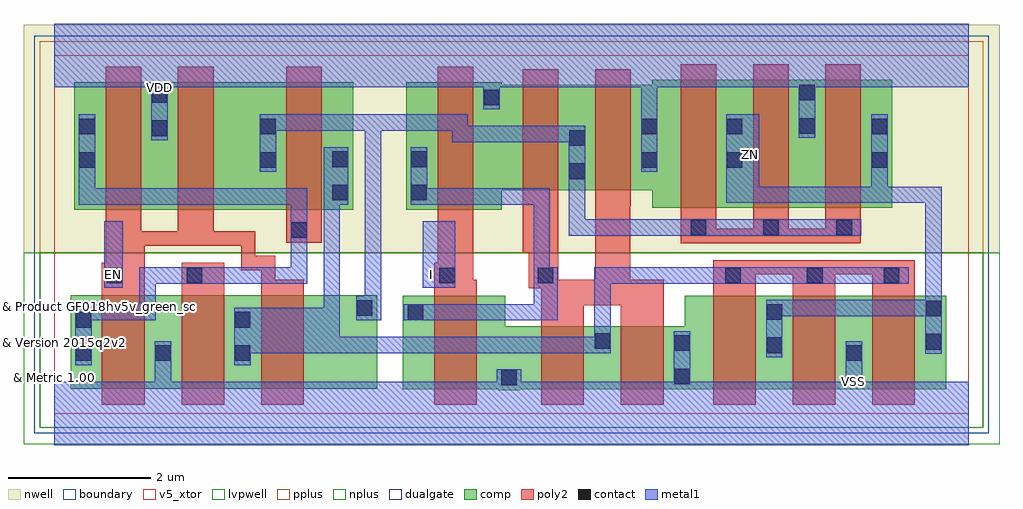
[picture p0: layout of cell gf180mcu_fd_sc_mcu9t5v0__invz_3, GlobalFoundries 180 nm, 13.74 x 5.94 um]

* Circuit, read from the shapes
.subckt gf180mcu_fd_sc_mcu9t5v0__invz_3 EN I VDD VSS ZN
XM1 VSS EN n1 VSUBS nfet_05v0 w=1.32u l=0.6u
XM2 n2 n1 VSS VSUBS nfet_05v0 w=1.32u l=0.6u
XM3 n3 EN n2 VSUBS nfet_05v0 w=1.32u l=0.6u
XM4 VSS I n4 VSUBS nfet_05v0 w=1.32u l=0.6u
XM5 n2 n4 VSS VSUBS nfet_05v0 w=0.885u l=0.6u m=2
XM6 ZN n2 VSS VSUBS nfet_05v0 w=1.32u l=0.6u m=3
XM7 VDD EN n1 n5 pfet_05v0 w=1.8u l=0.5u
XM8 n3 EN VDD n5 pfet_05v0 w=1.8u l=0.5u
XM9 n2 n1 n3 n5 pfet_05v0 w=1.8u l=0.5u
XM10 VDD I n4 n5 pfet_05v0 w=1.8u l=0.5u
XM11 n3 n4 VDD n5 pfet_05v0 w=1.485u l=0.5u m=2
XM12 ZN n3 VDD n5 pfet_05v0 w=1.8u l=0.5u m=3
.ends

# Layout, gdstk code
import gdstk
lib = gdstk.Library(unit=1e-6, precision=1e-09)
def R(c, l, rs):  # rectangles x0, y0, x1, y1
    for r in rs: c.add(gdstk.rectangle(r[:2], r[2:], *l))
def A(c, l, x, y, w, h, nx, ny, dx, dy):  # array of equal rectangles
    R(c, l, [(x+i*dx, y+j*dy, x+i*dx+w, y+j*dy+h) for i in range(nx) for j in range(ny)])
def P(c, l, *ps):  # polygons
    for p in ps: c.add(gdstk.Polygon(p, *l))
boundary = (0, 0)
nwell = (21, 0)
comp = (22, 0)
poly2 = (30, 0)
pplus = (31, 0)
nplus = (32, 0)
contact = (33, 0)
metal1 = (34, 0)
dualgate = (55, 0)
v5_xtor = (112, 1)
lvpwell = (204, 0)

gf180mcu_fd_sc_mcu9t5v0_ = lib.new_cell('gf180mcu_fd_sc_mcu9t5v0__invz_3')
R(gf180mcu_fd_sc_mcu9t5v0_, boundary, [(0,0,12.88,5.04)])
R(gf180mcu_fd_sc_mcu9t5v0_, nwell, [(-0.43,2.265,13.31,5.47)])
R(gf180mcu_fd_sc_mcu9t5v0_, comp, [(0.235,0.345,4.55,1.665), (0.285,2.865,4.21,4.665)])
P(gf180mcu_fd_sc_mcu9t5v0_, comp, [(4.96,2.865),(4.96,4.665),(6.3,4.665),(6.3,4.625),(8.42,4.625),(8.42,4.7),(11.8,4.7),(11.8,2.9),(8.42,2.9),(8.42,3.14),(6.3,3.14),(6.3,2.865)],
  [(6.25,0.325),(6.25,0.34),(4.91,0.34),(4.91,1.66),(6.35,1.66),(6.35,1.225),(8.88,1.225),(8.88,1.66),(12.56,1.66),(12.56,0.34),(6.56,0.34),(6.56,0.325)])
R(gf180mcu_fd_sc_mcu9t5v0_, poly2, [(1.795,0.125,2.395,2.125), (3.27,2.405,3.77,4.885)])
P(gf180mcu_fd_sc_mcu9t5v0_, poly2, [(0.675,0.125),(0.675,2.125),(0.725,2.125),(0.725,4.885),(1.225,4.885),(1.225,2.565),(1.745,2.565),(1.745,4.885),(2.245,4.885),(2.245,2.565),(2.835,2.565),(2.835,2.22),(3.115,2.22),(3.115,1.885),(3.515,1.885),(3.515,0.125),(2.915,0.125),(2.915,2.02),(2.635,2.02),(2.635,2.365),(1.275,2.365),(1.275,0.125)],
  [(5.35,0.12),(5.35,2.125),(5.4,2.125),(5.4,4.885),(5.9,4.885),(5.9,1.88),(5.95,1.88),(5.95,0.12)],
  [(6.86,0.12),(6.86,1.765),(6.68,1.765),(6.68,2.26),(6.6,2.26),(6.6,4.845),(7.1,4.845),(7.1,1.885),(7.62,1.885),(7.62,4.845),(8.12,4.845),(8.12,2.92),(8.115,2.92),(8.115,1.885),(8.58,1.885),(8.58,0.12),(7.98,0.12),(7.98,1.525),(7.46,1.525),(7.46,0.12)],
  [(8.82,2.4),(8.82,4.92),(9.32,4.92),(9.32,2.6),(9.84,2.6),(9.84,4.92),(10.34,4.92),(10.34,2.6),(10.86,2.6),(10.86,4.92),(11.36,4.92),(11.36,2.4)],
  [(9.28,0.12),(9.28,2.16),(12.12,2.16),(12.12,0.12),(11.52,0.12),(11.52,1.96),(11,1.96),(11,0.12),(10.4,0.12),(10.4,1.96),(9.88,1.96),(9.88,0.12)])
R(gf180mcu_fd_sc_mcu9t5v0_, pplus, [(-0.2,2.265,13.08,5.24)])
R(gf180mcu_fd_sc_mcu9t5v0_, nplus, [(-0.2,-0.2,13.08,2.265)])
A(gf180mcu_fd_sc_mcu9t5v0_, contact, 0.305, 0.74, 0.22, 0.22, 3, 1, 1.12, 0)
R(gf180mcu_fd_sc_mcu9t5v0_, contact, [(6.295,0.395,6.515,0.615), (8.73,0.41,8.95,0.63), (11.15,0.74,11.37,0.96), (10.03,0.85,10.25,1.07), (8.73,0.88,8.95,1.1), (12.27,0.9,12.49,1.12), (7.61,0.91,7.83,1.13), (0.305,1.21,0.525,1.43), (2.545,1.21,2.765,1.43), (4.98,1.315,5.2,1.535), (10.03,1.32,10.25,1.54), (12.27,1.37,12.49,1.59), (4.26,1.375,4.48,1.595), (0.745,1.835,0.965,2.055), (1.865,1.835,2.085,2.055), (5.42,1.835,5.64,2.055), (6.81,1.835,7.03,2.055), (9.45,1.835,9.67,2.055), (10.6,1.835,10.82,2.055), (11.68,1.835,11.9,2.055), (3.34,2.475,3.56,2.695), (8.96,2.51,9.18,2.73), (9.985,2.51,10.205,2.73), (11.015,2.51,11.235,2.73), (3.92,3,4.14,3.22), (5.03,3,5.25,3.22), (7.25,3.3,7.47,3.52), (0.355,3.46,0.575,3.68), (2.9,3.46,3.12,3.68), (8.27,3.46,8.49,3.68), (9.47,3.46,9.69,3.68), (11.51,3.46,11.73,3.68), (3.92,3.47,4.14,3.69), (5.03,3.47,5.25,3.69), (7.25,3.77,7.47,3.99), (1.375,3.905,1.595,4.125), (0.355,3.93,0.575,4.15), (2.9,3.93,3.12,4.15), (8.27,3.93,8.49,4.15), (9.47,3.93,9.69,4.15), (11.51,3.93,11.73,4.15), (10.49,3.94,10.71,4.16), (6.05,4.34,6.27,4.56), (1.375,4.375,1.595,4.595), (10.49,4.41,10.71,4.63)])
R(gf180mcu_fd_sc_mcu9t5v0_, metal1, [(0.71,1.77,0.97,2.71), (5.19,1.77,5.645,2.71)])
P(gf180mcu_fd_sc_mcu9t5v0_, metal1, [(0.3,0.68),(0.3,1.54),(1.2,1.54),(1.2,2.06),(3.335,2.06),(3.335,2.94),(0.35,2.94),(0.35,4.21),(0.58,4.21),(0.58,3.17),(3.565,3.17),(3.565,1.83),(1.43,1.83),(1.43,1.31),(0.53,1.31),(0.53,0.68)],
  [(4.92,1.31),(4.92,1.54),(6.75,1.54),(6.75,2.94),(5.025,2.94),(5.025,3.75),(5.255,3.75),(5.255,3.17),(6.98,3.17),(6.98,2.06),(7.09,2.06),(7.09,1.31)],
  [(4.255,1.315),(4.255,1.655),(4.375,1.655),(4.375,3.98),(3.125,3.98),(3.125,3.4),(2.895,3.4),(2.895,4.21),(5.825,4.21),(5.825,4.05),(7.475,4.05),(7.475,2.735),(11.365,2.735),(11.365,2.505),(7.245,2.505),(7.245,3.82),(5.605,3.82),(5.605,3.98),(4.605,3.98),(4.605,1.315)],
  [(2.54,0.68),(2.54,1.49),(3.795,1.49),(3.795,3.75),(4.145,3.75),(4.145,2.94),(4.025,2.94),(4.025,1.08),(7.605,1.08),(7.605,2.06),(12.03,2.06),(12.03,1.83),(7.835,1.83),(7.835,0.85),(2.77,0.85),(2.77,0.68)],
  [(10.025,0.79),(10.025,1.6),(12.265,1.6),(12.265,2.965),(9.465,2.965),(9.465,4.21),(9.93,4.21),(9.93,3.195),(11.505,3.195),(11.505,4.21),(11.735,4.21),(11.735,3.195),(12.495,3.195),(12.495,0.84),(12.265,0.84),(12.265,1.37),(10.255,1.37),(10.255,0.79)],
  [(0,-0.45),(0,0.45),(1.42,0.45),(1.42,1.02),(1.65,1.02),(1.65,0.45),(6.235,0.45),(6.235,0.62),(6.575,0.62),(6.575,0.45),(8.725,0.45),(8.725,1.16),(8.955,1.16),(8.955,0.45),(11.145,0.45),(11.145,1.02),(11.375,1.02),(11.375,0.45),(12.88,0.45),(12.88,-0.45)],
  [(8.265,3.4),(8.265,4.59),(6.275,4.59),(6.275,4.28),(6.045,4.28),(6.045,4.59),(1.6,4.59),(1.6,3.845),(1.37,3.845),(1.37,4.59),(0,4.59),(0,5.49),(12.88,5.49),(12.88,4.59),(10.715,4.59),(10.715,3.88),(10.485,3.88),(10.485,4.59),(8.495,4.59),(8.495,3.4)])
R(gf180mcu_fd_sc_mcu9t5v0_, dualgate, [(-0.28,-0.28,13.16,5.32)])
R(gf180mcu_fd_sc_mcu9t5v0_, v5_xtor, [(0,0,12.88,5.04)])
R(gf180mcu_fd_sc_mcu9t5v0_, lvpwell, [(-0.43,-0.43,13.31,2.265)])
gf180mcu_fd_sc_mcu9t5v0_.add(gdstk.Label('EN', (0.84,1.96), layer=34, texttype=10))
gf180mcu_fd_sc_mcu9t5v0_.add(gdstk.Label('I', (5.32,1.96), layer=34, texttype=10))
gf180mcu_fd_sc_mcu9t5v0_.add(gdstk.Label('VDD', (1.485,4.59), layer=34, texttype=10))
gf180mcu_fd_sc_mcu9t5v0_.add(gdstk.Label('VSS', (11.26,0.45), layer=34, texttype=10))
gf180mcu_fd_sc_mcu9t5v0_.add(gdstk.Label('ZN', (9.8,3.64), layer=34, texttype=10))
gf180mcu_fd_sc_mcu9t5v0_.add(gdstk.Label('& Vendor GLOBALFOUNDRIES', (0,2), layer=63, texttype=63))
gf180mcu_fd_sc_mcu9t5v0_.add(gdstk.Label('& Product GF018hv5v_green_sc9', (0,1.5), layer=63, texttype=63))
gf180mcu_fd_sc_mcu9t5v0_.add(gdstk.Label('& Version 2015q2v2', (0,1), layer=63, texttype=63))
gf180mcu_fd_sc_mcu9t5v0_.add(gdstk.Label('& Metric 1.00', (0,0.5), layer=63, texttype=63))

lib.write_gds('gf180mcu_fd_sc_mcu9t5v0__invz_3.gds')
